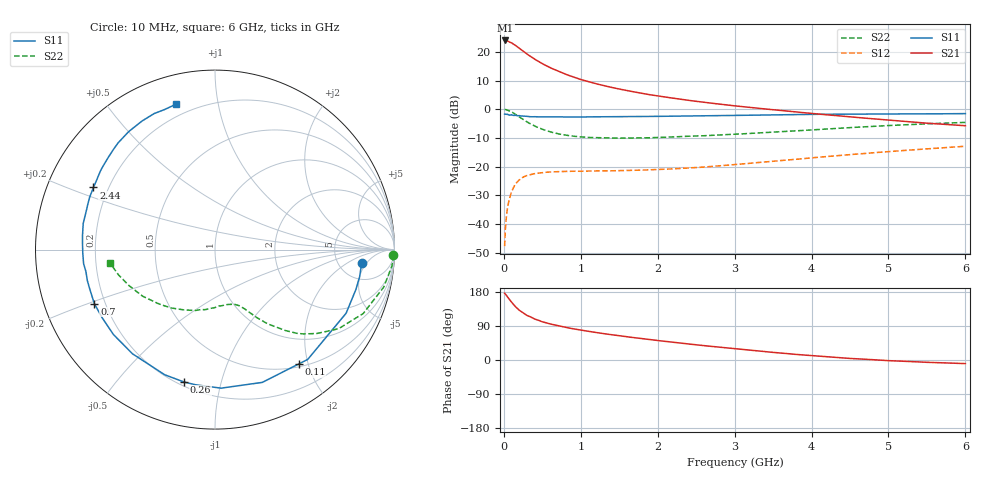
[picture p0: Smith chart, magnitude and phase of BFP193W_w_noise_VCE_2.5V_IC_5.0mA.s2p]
! Infineon Technologies  Discrete & RF Semiconductors
! BFP193W
! VCE = 2.5 V,  IC =  5.0 mA
! Common Emitter S-Parameters:  Jan 2016
# GHz  S  MA  R  50
!  f  S11  S21  S12  S22
! GHz  MAG  ANG  MAG  ANG  MAG  ANG  MAG  ANG
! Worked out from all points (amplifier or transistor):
!   210 points, 10 MHz to 6 GHz, reference 50 ohm
!   highest |S21| = 24.0 dB at 20 MHz (marker M1)
!   |S21| within 3 dB of that: start of sweep to 214.5 MHz
!   unconditionally stable (mu >= 1): 1.686 GHz to 4.423 GHz
!   at 185 MHz: K = 0.14, MSG = 23.3 dB, |S12| = -25.1 dB
!   at 1.52 GHz: K = 0.94, MSG = 14.2 dB, |S12| = -21.4 dB
!   at 6 GHz: K = 0.92, MSG = 3.6 dB, |S12| = -12.9 dB
!   lowest NFmin = 1.20 dB at 450 MHz
!   S11 on the Smith chart (normalised r, x): 10 MHz: 8.38, -3.81; 110 MHz: 0.55, -1.84; 260 MHz: 0.22, -0.77; 700 MHz: 0.16, -0.21; 2.44 GHz: 0.14, +0.24; 6 GHz: 0.14, +0.76
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0.01  0.8204 -5.2  15.71 176.2  0.0041 87.6  0.9944 -1.7
0.02  0.82 -10.6  15.78 174.1  0.0082 84.0  0.9902 -5.2
0.05  0.812 -25.9  15.42 165.5  0.02 77.1  0.9633 -12.5
0.1  0.8007 -49.8  14.35 152.3  0.0363 65.3  0.8997 -23.3
0.11  0.7895 -53.8  14.04 150.2  0.0389 62.8  0.8816 -25.0
0.15  0.7854 -70.4  13.01 140.7  0.0497 55.6  0.8179 -32.6
0.2  0.7727 -87.5  11.56 131.4  0.0585 47.8  0.7348 -39.5
0.26  0.7577 -103.1  10.06 122.9  0.0663 41.0  0.6516 -45.7
0.3  0.7515 -111.9  9.145 117.7  0.0698 37.2  0.599 -48.9
0.4  0.7405 -128.4  7.439 108.2  0.0754 30.8  0.508 -54.6
0.5  0.7376 -140.1  6.204 100.8  0.0786 27.2  0.4463 -58.3
0.6  0.7346 -149.0  5.294 95.1  0.0806 24.4  0.4038 -61.0
0.7  0.7365 -155.9  4.633 90.4  0.0816 23.0  0.3735 -63.0
0.8  0.7321 -161.4  4.075 86.1  0.0824 21.9  0.3538 -65.0
1.02  0.7306 -171.0  3.24 78.3  0.083 21.1  0.3275 -69.5
1.4  0.7397 176.6  2.399 66.7  0.0845 22.2  0.3144 -77.0
2.02  0.7509 161.4  1.687 50.9  0.089 28.5  0.3234 -90.3
2.44  0.7607 152.9  1.405 41.4  0.0949 33.0  0.3395 -99.8
3.1  0.7823 140.8  1.109 27.8  0.1112 38.8  0.3718 -115.1
4.1  0.8155 124.9  0.821 10.3  0.1459 41.6  0.4429 -138.5
5.1  0.8297 113.2  0.63 -2.5  0.1866 39.4  0.5256 -158.9
6  0.8382 105.2  0.515 -9.5  0.2259 35.3  0.5896 -172.7
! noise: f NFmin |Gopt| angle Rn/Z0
0.45  1.2  0.26  102  0.14
0.9  1.25  0.38  145  0.12
1.8  2.05  0.56  -161  0.12
